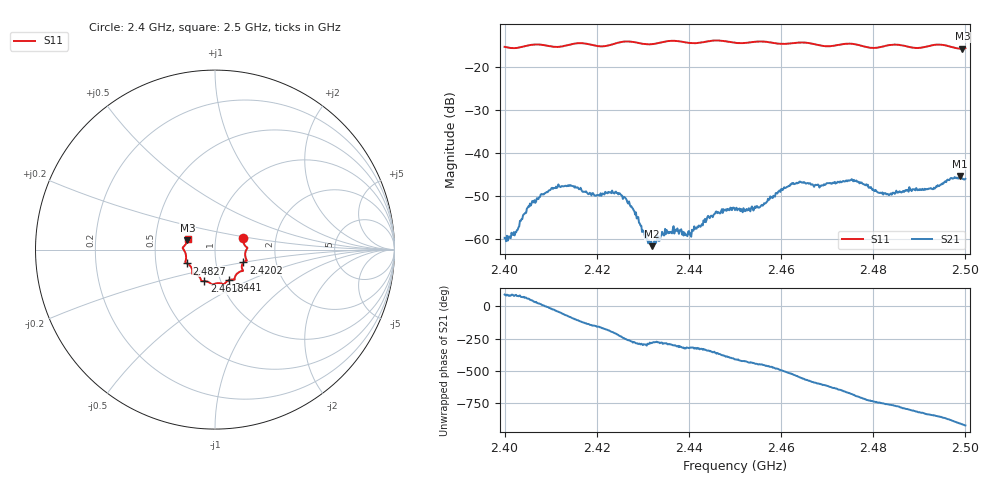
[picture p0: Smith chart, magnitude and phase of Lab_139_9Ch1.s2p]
# Hz S RI R 50
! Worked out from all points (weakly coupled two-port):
!   601 points, 2.4 GHz to 2.5 GHz, reference 50 ohm
!   highest |S21| = -45.33 dB at 2.4988 GHz (marker M1); lowest = -61.6 dB at 2.432 GHz (marker M2)
!   lowest |S11| = -15.8 dB at 2.4993 GHz (marker M3), VSWR 1.39, Z = 36.5 + j3.87 ohm
!   |S11| at or under -10 dB: start of sweep to end of sweep
!   S12 and S22 are empty: the file has one direction only
!   S11 on the Smith chart (normalised r, x): 2.4 GHz: 1.36, +0.17; 2.4202 GHz: 1.36, -0.20; 2.441 GHz: 1.10, -0.39; 2.4618 GHz: 0.84, -0.30; 2.4827 GHz: 0.72, -0.11; 2.5 GHz: 0.73, +0.09
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2.4e9  0.1578 0.0623  -3.51e-05 0.00104  0 0  0 0
2.402333e9  0.1605 0.0347  4.15e-05 0.00121  0 0  0 0
2.4055e9  0.1775 0.0125  0.00162 0.00203  0 0  0 0
2.408333e9  0.1787 0.00521  0.00331 0.00049  0 0  0 0
2.412167e9  0.168 -0.0307  0.00265 -0.00303  0 0  0 0
2.416667e9  0.1773 -0.0604  -0.00184 -0.00325  0 0  0 0
2.420167e9  0.1579 -0.0714  -0.00299 -0.00125  0 0  0 0
2.425833e9  0.156 -0.1171  -0.00131 0.00282  0 0  0 0
2.432e9  0.1182 -0.139  0.000199 0.00081  0 0  0 0
2.433333e9  0.1117 -0.1511  0.000134 0.00101  0 0  0 0
2.441e9  0.078 -0.1699  0.000982 0.000798  0 0  0 0
2.445833e9  0.0503 -0.1949  0.00209 -5.87e-05  0 0  0 0
2.45e9  0.028 -0.1871  0.00135 -0.0017  0 0  0 0
2.4555e9  -0.0139 -0.1954  -3.3e-05 -0.00239  0 0  0 0
2.461833e9  -0.0598 -0.1755  -0.00386 -0.00149  0 0  0 0
2.466667e9  -0.0783 -0.168  -0.00304 0.00306  0 0  0 0
2.475833e9  -0.1275 -0.1314  0.00405 0.00274  0 0  0 0
2.482667e9  -0.1563 -0.0771  0.0027 -0.00213  0 0  0 0
2.483333e9  -0.1605 -0.0754  0.00247 -0.00214  0 0  0 0
2.498833e9  -0.1561 0.0446  -0.00535 0.000809  0 0  0 0
2.499333e9  -0.1536 0.0516  -0.00486 0.00123  0 0  0 0
2.5e9  -0.1522 0.0613  -0.00461 0.002  0 0  0 0
